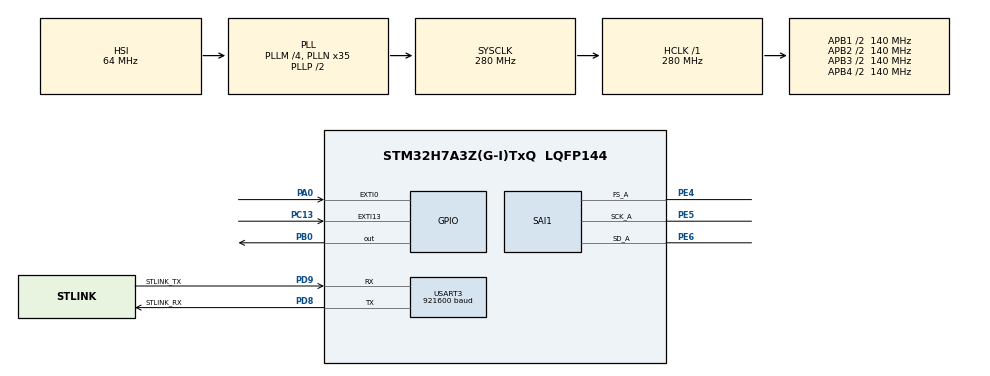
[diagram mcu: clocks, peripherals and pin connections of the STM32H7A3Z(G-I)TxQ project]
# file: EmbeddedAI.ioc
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ARM.CMSIS-DSP.1.17.0.CMSISJjDSP=Source
ARM.CMSIS.6.3.0.CMSISJjCORE=true
CORTEX_M7.default_mode_Activation=1
Dma.Request0=SAI1_A
Dma.SAI1_A.0.Direction=DMA_PERIPH_TO_MEMORY
Dma.SAI1_A.0.EventEnable=DISABLE
Dma.SAI1_A.0.FIFOMode=DMA_FIFOMODE_ENABLE
Dma.SAI1_A.0.FIFOThreshold=DMA_FIFO_THRESHOLD_FULL
Dma.SAI1_A.0.Instance=DMA1_Stream0
Dma.SAI1_A.0.MemBurst=DMA_MBURST_SINGLE
Dma.SAI1_A.0.MemDataAlignment=DMA_MDATAALIGN_WORD
Dma.SAI1_A.0.MemInc=DMA_MINC_ENABLE
Dma.SAI1_A.0.Mode=DMA_CIRCULAR
Dma.SAI1_A.0.PeriphBurst=DMA_PBURST_SINGLE
Dma.SAI1_A.0.PeriphDataAlignment=DMA_PDATAALIGN_WORD
Dma.SAI1_A.0.PeriphInc=DMA_PINC_DISABLE
Dma.SAI1_A.0.Polarity=HAL_DMAMUX_REQ_GEN_RISING
Dma.SAI1_A.0.Priority=DMA_PRIORITY_HIGH
Dma.SAI1_A.0.RequestNumber=1
Dma.SAI1_A.0.SignalID=NONE
Dma.SAI1_A.0.SyncEnable=DISABLE
Dma.SAI1_A.0.SyncPolarity=HAL_DMAMUX_SYNC_NO_EVENT
Dma.SAI1_A.0.SyncRequestNumber=1
Dma.SAI1_A.0.SyncSignalID=NONE
Mcu.Family=STM32H7
Mcu.Name=STM32H7A3Z(G-I)TxQ
Mcu.Package=LQFP144
NVIC.DMA1_Stream0_IRQn=true\:0\:0\:false\:false\:true\:false\:true\:true
NVIC.EXTI0_IRQn=true\:0\:0\:false\:false\:true\:true\:true\:true
NVIC.EXTI15_10_IRQn=true\:0\:0\:false\:false\:true\:true\:true\:true
NVIC.PriorityGroup=NVIC_PRIORITYGROUP_4
NVIC.SAI1_IRQn=true\:0\:0\:false\:false\:true\:true\:true\:true
NVIC.USART3_IRQn=true\:0\:0\:false\:false\:true\:true\:true\:true
PA0.GPIO_ModeDefaultEXTI=GPIO_MODE_IT_FALLING
PA0.GPIO_PuPd=GPIO_PULLUP
PA0.Signal=GPXTI0
PB0.Signal=GPIO_Output
PC13.GPIO_ModeDefaultEXTI=GPIO_MODE_IT_FALLING
PC13.GPIO_PuPd=GPIO_PULLUP
PC13.Signal=GPXTI13
PC14-OSC32_IN.GPIO_Label=OSC32_IN
PC14-OSC32_IN.Signal=RCC_OSC32_IN
PC15-OSC32_OUT.GPIO_Label=OSC32_OUT
PC15-OSC32_OUT.Signal=RCC_OSC32_OUT
PD8.GPIO_Label=STLINK_RX
PD8.Mode=Asynchronous
PD8.Signal=USART3_TX
PD9.GPIO_Label=STLINK_TX
PD9.Mode=Asynchronous
PD9.Signal=USART3_RX
PE4.GPIO_Speed=GPIO_SPEED_FREQ_HIGH
PE4.Mode=SAI_A_Master
PE4.Signal=SAI1_FS_A
PE5.GPIO_Speed=GPIO_SPEED_FREQ_HIGH
PE5.Mode=SAI_A_Master
PE5.Signal=SAI1_SCK_A
PE6.GPIO_Speed=GPIO_SPEED_FREQ_HIGH
PE6.Mode=SAI_A_Master
PE6.Signal=SAI1_SD_A
PH0-OSC_IN.GPIO_Label=PH0-MCU
PH0-OSC_IN.Mode=HSE-External-Oscillator
PH0-OSC_IN.Signal=RCC_OSC_IN
PH1-OSC_OUT.GPIO_Label=PH1-MCU
PH1-OSC_OUT.Mode=HSE-External-Oscillator
PH1-OSC_OUT.Signal=RCC_OSC_OUT
ProjectManager.HeapSize=0x200
ProjectManager.StackSize=0x400
ProjectManager.TargetToolchain=STM32CubeIDE
RCC.ADCFreq_Value=128000000
RCC.APB1Freq_Value=140000000
RCC.APB2Freq_Value=140000000
RCC.APB3Freq_Value=140000000
RCC.APB4Freq_Value=140000000
RCC.CDPPRE=RCC_APB3_DIV2
RCC.CDPPRE1=RCC_APB1_DIV2
RCC.CDPPRE2=RCC_APB2_DIV2
RCC.CortexFreq_Value=280000000
RCC.DIVM1=4
RCC.DIVM2=4
RCC.DIVM3=1
RCC.DIVN1=35
RCC.DIVN2=8
RCC.DIVN3=24
RCC.DIVP2=1
RCC.DIVQ1=4
RCC.HCLKFreq_Value=280000000
RCC.HSE_VALUE=8000000
RCC.PLL2FRACN=0
RCC.PLLFRACN=0
RCC.PWR_Regulator_Voltage_Scale=PWR_REGULATOR_VOLTAGE_SCALE0
RCC.SAI1CLockSelection=RCC_SAI1CLKSOURCE_PLL2
RCC.SRDPPRE=RCC_APB4_DIV2
RCC.SYSCLKFreq_VALUE=280000000
RCC.SYSCLKSource=RCC_SYSCLKSOURCE_PLLCLK
RCC.SupplySource=PWR_DIRECT_SMPS_SUPPLY
RCC.USBCLockSelection=RCC_USBCLKSOURCE_HSI48
RCC.USBFreq_Value=48000000
SAI1.AudioFrequency-SAI_A_Master=SAI_AUDIO_FREQUENCY_32K
SAI1.AudioMode-SAI_A_Master=SAI_MODEMASTER_RX
SAI1.BasicDataSize-SAI_A_Master=SAI_PROTOCOL_DATASIZE_32BIT
SAI1.ErrorAudioFreq-SAI_A_Master=0.0 %
SAI1.InitProtocol-SAI_A_Master=Enable
SAI1.Instance-SAI_A_Master=SAI$Index_Block_A
SAI1.MckOutput-SAI_A_Master=SAI_MCK_OUTPUT_DISABLE
SAI1.MonoStereoMode-SAI_A_Master=SAI_MONOMODE
SAI1.NoDivider-SAI_A_Master=SAI_MASTERDIVIDER_DISABLE
SAI1.RealAudioFreq-SAI_A_Master=500.0 KHz
SAI1.VirtualMode-SAI_A_Master=VM_MASTER
SAI1.VirtualProtocol-SAI_A_BASIC=VM_BASIC_PROTOCOL
STMicroelectronics.FP-SNS-STAIOTCFT.1.0.0.MathOoLibCcCMSISJjDSPJjInclude=true
STMicroelectronics.FP-SNS-STAIOTCFT.1.0.0.MathOoLibCcCMSISJjDSPJjLib=true
STMicroelectronics.X-CUBE-AI.10.2.0.XAaCUBEAaAICcArtificialOoIntelligenceJjCore=true
USART3.BaudRate=921600
USART3.VirtualMode-Asynchronous=VM_ASYNC
VP_ARM.CMSIS-DSP_VS_CMSISJjDSP_1.17.0_1.17.0.Mode=CMSISJjDSP
VP_ARM.CMSIS_VS_CMSISJjCORE_6.2.0_6.3.0.Mode=CMSISJjCORE
VP_MEMORYMAP_VS_MEMORYMAP.Mode=CurAppReg
VP_SAI1_VP_$IpInstance_SAIA_SAI_BASIC.Mode=SAI_A_BASIC
VP_STMicroelectronics.FP-SNS-STAIOTCFT_VS_CMSISJjMathOoLib_1.0.0_1.0.0.Mode=CMSISJjMathOoLib
VP_STMicroelectronics.X-CUBE-AI_VS_ArtificialOoIntelligenceJjXAaCUBEAaAI_10.2.0.Mode=ArtificialOoIntelligenceJjXAaCUBEAaAI
board=NUCLEO-H7A3ZI-Q

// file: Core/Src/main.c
/* USER CODE BEGIN Header */
/**
 ******************************************************************************
 * @file           : main.c
 * @brief          : Main program body
 ******************************************************************************
 * @attention
 *
 * Copyright (c) 2026 STMicroelectronics.
 * All rights reserved.
 *
 * This software is licensed under terms that can be found in the LICENSE file
 * in the root directory of this software component.
 * If no LICENSE file comes with this software, it is provided AS-IS.
 *
 ******************************************************************************
 */
/* USER CODE END Header */
#include "main.h"
#include "dma.h"
#include "sai.h"
#include "usart.h"
#include "gpio.h"

/* USER CODE BEGIN Includes */
#include <string.h>
#include <stdio.h>
#include "wakeword_inference.h"
#include "mfcc_processing.h"
#include "app_x-cube-ai.h"

/* USER CODE END Includes */

/* USER CODE BEGIN PD */

// SAI configured as STEREO (2 slots: L + R)
// INMP441 L/R pin = GND  → drives LEFT slot only, RIGHT slot = zero
// DMA transfers 32-bit words.
// One stereo frame = 2 words (L word then R word).
//
// AUDIO_BLOCK_FRAMES : number of stereo frames per DMA half-transfer
// AUDIO_BLOCK_WORDS  : total 32-bit words per half (L+R interleaved)
#define AUDIO_BLOCK_FRAMES   256
#define AUDIO_BLOCK_WORDS    (AUDIO_BLOCK_FRAMES * 2)   // 512 words per half

#define SAMPLE_RATE          16000
#define AUDIO_GAIN           10      // applied to 24-bit value — tune as needed
#define EVAL_MODE

/* USER CODE END PD */

/* USER CODE BEGIN PV */

// Full ping-pong DMA buffer: 2 halves × AUDIO_BLOCK_WORDS words = 1024 int32
int32_t dma_rx_buffer[AUDIO_BLOCK_WORDS * 2] __attribute__((aligned(32)));

// Set to 1 (first half ready) or 2 (second half ready) by DMA callbacks
volatile uint8_t audio_block_ready = 0;

// Output: AUDIO_BLOCK_FRAMES mono samples packed as 3-byte little-endian 24-bit
// + 4-byte sync header prefix
static uint8_t tx_buf[4 + AUDIO_BLOCK_FRAMES * 3];

// Tick value at which the wakeword LED should be turned off (0 = LED idle)
static uint32_t led_off_tick = 0U;
/* USER CODE END PV */

void SystemClock_Config(void);
static void MPU_Config(void);

/* USER CODE BEGIN 0 */
int _write(int file, char *ptr, int len)
{
	HAL_UART_Transmit(&huart3, (uint8_t*)ptr, len, HAL_MAX_DELAY);
	return len;
}

#ifdef EVAL_MODE

#define EVAL_SYNC_BYTE0  0xAAU
#define EVAL_SYNC_BYTE1  0xBBU
#define EVAL_SYNC_BYTE2  0xCCU
#define EVAL_SYNC_BYTE3  0xDDU
#define EVAL_BLOCK_FRAMES 256U

/* Reuse the existing DMA audio buffer — already 32-byte aligned */
extern int32_t g_audio_buf[];   /* or whatever your buffer is named */

static int EVAL_ReadBlock(void)
{
    uint8_t  hdr[4];
    uint8_t  raw[EVAL_BLOCK_FRAMES * 3];
    int32_t  block[EVAL_BLOCK_FRAMES];

    /* 1 — Wait for sync header */
    uint8_t b;
    uint8_t matched = 0;
    const uint8_t sync[4] = {
        EVAL_SYNC_BYTE0, EVAL_SYNC_BYTE1,
        EVAL_SYNC_BYTE2, EVAL_SYNC_BYTE3
    };
    uint32_t deadline = HAL_GetTick() + 3000U;
    while (matched < 4)
    {
        if (HAL_GetTick() > deadline) return -1;
        if (HAL_UART_Receive(&huart3, &b, 1, 10) != HAL_OK) continue;
        if (b == sync[matched]) matched++;
        else matched = (b == sync[0]) ? 1 : 0;
    }

    /* 2 — Read 256 × 3 bytes */
    if (HAL_UART_Receive(&huart3, raw,
                         EVAL_BLOCK_FRAMES * 3, 500) != HAL_OK)
        return -1;

    /* 3 — Decode 24-bit LE signed → int32 left-justified
     *     (same format as INMP441 24-bit data in 32-bit SAI frames) */
    for (uint32_t i = 0; i < EVAL_BLOCK_FRAMES; i++)
    {
        int32_t v = (int32_t)(  (uint32_t)raw[i*3]
                              | ((uint32_t)raw[i*3+1] << 8)
                              | ((uint32_t)raw[i*3+2] << 16));
        if (v & 0x800000) v |= 0xFF000000;   /* sign-extend */
        block[i*2]   = v << 8;               /* left-justify to 32-bit */
        block[i*2+1] = 0;                    /* dummy right channel */
    }

    /* 4 — Invalidate cache before CPU read (coherency) */
    SCB_InvalidateDCache_by_Addr((uint32_t *)block, sizeof(block));

    /* 5 — Feed to MFCC accumulator exactly as DMA half-callback does */
    MFCC_IngestBlock(block, EVAL_BLOCK_FRAMES);
    return 0;
}

#endif /* EVAL_MODE */
/* USER CODE END 0 */

int main(void)
{

  /* USER CODE BEGIN 1 */
	SCB_EnableICache();   // instruction cache
	SCB_EnableDCache();   // data cache
  /* USER CODE END 1 */

  /* MPU Configuration--------------------------------------------------------*/
  MPU_Config();

  /* MCU Configuration--------------------------------------------------------*/

  /* Reset of all peripherals, Initializes the Flash interface and the Systick. */
  HAL_Init();

  /* Configure the system clock */
  SystemClock_Config();

  /* Initialize all configured peripherals */
  MX_GPIO_Init();
  MX_DMA_Init();
  MX_SAI1_Init();
  MX_USART3_UART_Init();
  /* USER CODE BEGIN 2 */

  // After peripheral inits:
  STM32CubeAI_Studio_AI_Init();
  MFCC_Init();

	// Prepopulate the sync header at the start of tx_buf (never changes)
	tx_buf[0] = 0xAA;
	tx_buf[1] = 0xBB;
	tx_buf[2] = 0xCC;
	tx_buf[3] = 0xDD;

	// Start DMA circular capture
	// Element count = total words in the full ping-pong buffer
#ifndef EVAL_MODE
	if (HAL_SAI_Receive_DMA(&hsai_BlockA1,
			(uint8_t*)dma_rx_buffer,
			AUDIO_BLOCK_WORDS * 2) != HAL_OK)
	{
		Error_Handler();
	}
#else
printf("[EVAL] Eval mode active — SAI disabled, waiting for UART audio\r\n");
#endif
	// Inside audio_block_ready block:

	printf("STM32 audio stream ready\r\n");
	printf("[BOOT] SYSCLK = %lu Hz\r\n", HAL_RCC_GetSysClockFreq());

  /* USER CODE END 2 */

  /* Infinite loop */
  /* USER CODE BEGIN WHILE */
	while (1)
	{
#ifdef EVAL_MODE
    /* Eval mode: pull one block from UART, feed MFCC accumulator */
    if (EVAL_ReadBlock() != 0)
//        printf("[EVAL] sync timeout — waiting for next frame\r\n");

#else
		if (audio_block_ready != 0)
		{
			// Grab and clear atomically before processing
			uint8_t block = audio_block_ready;
			audio_block_ready = 0;

			// Select the correct half of the ping-pong buffer
			int32_t *src = (block == 1) ?
					dma_rx_buffer :
					dma_rx_buffer + AUDIO_BLOCK_WORDS;

			// Extract left channel and pack to 24-bit
			// L+R are interleaved: word[0]=L, word[1]=R, word[2]=L ...
			// → left channel is at index i*2
			// INMP441 left-justifies 24-bit audio in the 32-bit word:
			// bits[31:8] = audio data, bits[7:0] = padding zeros
			// → arithmetic right shift by 8 gives signed 24-bit in int32
			for (int i = 0; i < AUDIO_BLOCK_FRAMES; i++)
			{
				int32_t raw    = src[i * 2];
				int32_t s24    = raw >> 8;
				int32_t gained = s24 * AUDIO_GAIN;

				// Clamp to signed 24-bit range [-8388608, 8388607]
				if (gained >  8388607) gained =  8388607;
				if (gained < -8388608) gained = -8388608;

				// Pack as little-endian 24-bit into tx_buf after the 4-byte header
				uint8_t *p = &tx_buf[4 + i * 3];
				p[0] = (uint8_t)(gained        & 0xFF);
				p[1] = (uint8_t)((gained >>  8) & 0xFF);
				p[2] = (uint8_t)((gained >> 16) & 0xFF);
			}
//			MFCC_IngestBlock(src, AUDIO_BLOCK_FRAMES);

			// Single transmit: header + packed audio
			HAL_UART_Transmit(&huart3, tx_buf, sizeof(tx_buf), HAL_MAX_DELAY);
		}
#endif

		if (g_mfcc_ready) {

			DWT->CYCCNT = 0;
			uint32_t t_mfcc_start = DWT->CYCCNT;
			MFCC_Compute();
			uint32_t t_mfcc_end = DWT->CYCCNT;
			printf("[BENCH] MFCC:      %lu cycles  →  %.2f ms\r\n",
			       t_mfcc_end - t_mfcc_start,
			       (float)(t_mfcc_end - t_mfcc_start) / 280000.0f);
		    /* Only run the (expensive) neural-net inference when the energy
		     * gate determined that speech-like energy is present.            */
		    if (g_energy_gate_passed) {
		        float p_ww;
		        if (WW_RunInference(&p_ww)) {
		            HAL_GPIO_WritePin(GPIOB, GPIO_PIN_0, GPIO_PIN_SET);  /* LED on  */
		            led_off_tick = HAL_GetTick() + 2500U;                /* 2.5 s   */
		        }
		    }
		}

		/* Turn LED off after timeout — non-blocking, checked every loop */
		if (led_off_tick != 0U && HAL_GetTick() >= led_off_tick) {
		    HAL_GPIO_WritePin(GPIOB, GPIO_PIN_0, GPIO_PIN_RESET);    /* LED off */
		    led_off_tick = 0U;
		}

    /* USER CODE END WHILE */

	}
}

void SystemClock_Config(void)
{
  RCC_OscInitTypeDef RCC_OscInitStruct = {0};
  RCC_ClkInitTypeDef RCC_ClkInitStruct = {0};

  /*AXI clock gating */
  RCC->CKGAENR = 0xE003FFFF;

  /** Supply configuration update enable
  */
  HAL_PWREx_ConfigSupply(PWR_DIRECT_SMPS_SUPPLY);

  /** Configure the main internal regulator output voltage
  */
  __HAL_PWR_VOLTAGESCALING_CONFIG(PWR_REGULATOR_VOLTAGE_SCALE0);

  while(!__HAL_PWR_GET_FLAG(PWR_FLAG_VOSRDY)) {}

  /** Initializes the RCC Oscillators according to the specified parameters
  * in the RCC_OscInitTypeDef structure.
  */
  RCC_OscInitStruct.OscillatorType = RCC_OSCILLATORTYPE_HSI;
  RCC_OscInitStruct.HSIState = RCC_HSI_DIV1;
  RCC_OscInitStruct.HSICalibrationValue = 64;
  RCC_OscInitStruct.PLL.PLLState = RCC_PLL_ON;
  RCC_OscInitStruct.PLL.PLLSource = RCC_PLLSOURCE_HSI;
  RCC_OscInitStruct.PLL.PLLM = 4;
  RCC_OscInitStruct.PLL.PLLN = 35;
  RCC_OscInitStruct.PLL.PLLP = 2;
  RCC_OscInitStruct.PLL.PLLQ = 4;
  RCC_OscInitStruct.PLL.PLLR = 2;
  RCC_OscInitStruct.PLL.PLLRGE = RCC_PLL1VCIRANGE_3;
  RCC_OscInitStruct.PLL.PLLVCOSEL = RCC_PLL1VCOWIDE;
  RCC_OscInitStruct.PLL.PLLFRACN = 0;
  if (HAL_RCC_OscConfig(&RCC_OscInitStruct) != HAL_OK)
  {
    Error_Handler();
  }

  /** Initializes the CPU, AHB and APB buses clocks
  */
  RCC_ClkInitStruct.ClockType = RCC_CLOCKTYPE_HCLK|RCC_CLOCKTYPE_SYSCLK
                              |RCC_CLOCKTYPE_PCLK1|RCC_CLOCKTYPE_PCLK2
                              |RCC_CLOCKTYPE_D3PCLK1|RCC_CLOCKTYPE_D1PCLK1;
  RCC_ClkInitStruct.SYSCLKSource = RCC_SYSCLKSOURCE_PLLCLK;
  RCC_ClkInitStruct.SYSCLKDivider = RCC_SYSCLK_DIV1;
  RCC_ClkInitStruct.AHBCLKDivider = RCC_HCLK_DIV1;
  RCC_ClkInitStruct.APB3CLKDivider = RCC_APB3_DIV2;
  RCC_ClkInitStruct.APB1CLKDivider = RCC_APB1_DIV2;
  RCC_ClkInitStruct.APB2CLKDivider = RCC_APB2_DIV2;
  RCC_ClkInitStruct.APB4CLKDivider = RCC_APB4_DIV2;

  if (HAL_RCC_ClockConfig(&RCC_ClkInitStruct, FLASH_LATENCY_6) != HAL_OK)
  {
    Error_Handler();
  }
}

/* USER CODE BEGIN 4 */

void HAL_SAI_RxHalfCpltCallback(SAI_HandleTypeDef *hsai)
{
	if (hsai->Instance == SAI1_Block_A)
		audio_block_ready = 1;
}

void HAL_SAI_RxCpltCallback(SAI_HandleTypeDef *hsai)
{
	if (hsai->Instance == SAI1_Block_A)
		audio_block_ready = 2;
}

void HAL_SAI_ErrorCallback(SAI_HandleTypeDef *hsai)
{
	if (hsai->Instance == SAI1_Block_A)
		HAL_SAI_Receive_DMA(&hsai_BlockA1,
				(uint8_t*)dma_rx_buffer,
				AUDIO_BLOCK_WORDS * 2);
}

/* USER CODE END 4 */

 /* MPU Configuration */

void MPU_Config(void)
{
  MPU_Region_InitTypeDef MPU_InitStruct = {0};

  /* Disables the MPU */
  HAL_MPU_Disable();

  /** Initializes and configures the Region and the memory to be protected
  */
  MPU_InitStruct.Enable = MPU_REGION_ENABLE;
  MPU_InitStruct.Number = MPU_REGION_NUMBER0;
  MPU_InitStruct.BaseAddress = 0x0;
  MPU_InitStruct.Size = MPU_REGION_SIZE_4GB;
  MPU_InitStruct.SubRegionDisable = 0x87;
  MPU_InitStruct.TypeExtField = MPU_TEX_LEVEL0;
  MPU_InitStruct.AccessPermission = MPU_REGION_NO_ACCESS;
  MPU_InitStruct.DisableExec = MPU_INSTRUCTION_ACCESS_DISABLE;
  MPU_InitStruct.IsShareable = MPU_ACCESS_SHAREABLE;
  MPU_InitStruct.IsCacheable = MPU_ACCESS_NOT_CACHEABLE;
  MPU_InitStruct.IsBufferable = MPU_ACCESS_NOT_BUFFERABLE;

  HAL_MPU_ConfigRegion(&MPU_InitStruct);
  /* Enables the MPU */
  HAL_MPU_Enable(MPU_PRIVILEGED_DEFAULT);

}

void Error_Handler(void)
{
	__disable_irq();
	while (1)
	{
	}
}
